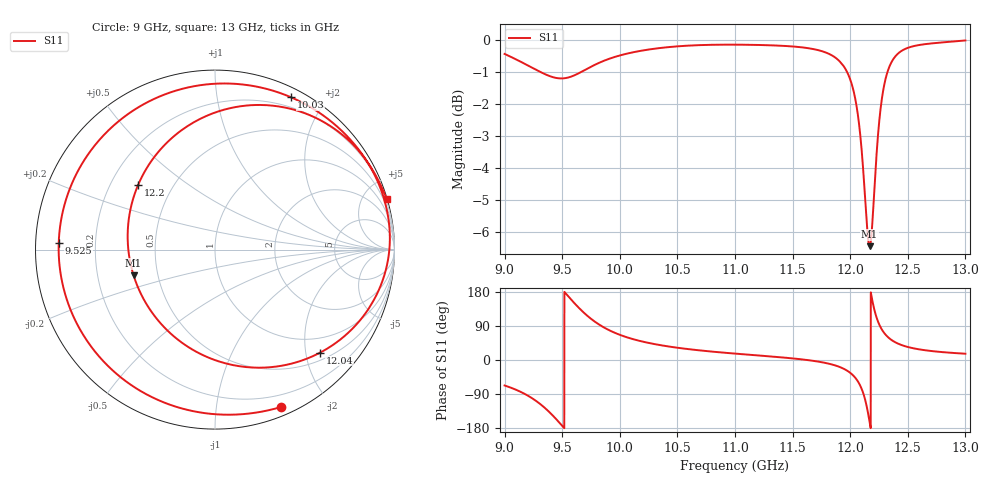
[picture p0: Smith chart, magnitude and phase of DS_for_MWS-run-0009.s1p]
! TOUCHSTONE file generated by CST DESIGN STUDIO
! Date and time: Tue Feb  4 14:34:12 2025
! Project name: C:\Work\MatlabApps\UnitCellOptimizationMatlab\CST\unitcell.cst
! Tree item: Tasks\Sweep1\SPara1\S-Parameters
! Header version: 2024
! Port assignment regex: !\s*Touchstone port\s*([0-9]+)\s*=\s*(CST MWS port|CST DES external port|CST DES block port)\s*(.+)\s* \(\"(.*)\"\)(\s*mode\s*([0-9]+))?.*
! Touchstone port assignment:
! Touchstone port 1 = CST DES external port 1 ("")
# GHz S MA R 50
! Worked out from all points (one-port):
!   4001 points, 9 GHz to 13 GHz, reference 50 ohm
!   lowest |S11| = -6.5 dB at 12.17 GHz (marker M1), VSWR 2.82, Z = 18.1 - j6.74 ohm
!   |S11| at or under -10 dB: nowhere
!   S11 on the Smith chart (normalised r, x): 9 GHz: 0.08, -1.50; 9.525 GHz: 0.07, +0.02; 10.03 GHz: 0.10, +1.61; 12.04 GHz: 0.65, -2.30; 12.2 GHz: 0.32, +0.33; 13 GHz: 0.04, +6.88
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9  0.9509 -67.2
9.176  0.9175 -89.7
9.294  0.8943 -112.7
9.394  0.8776 -139.1
9.5  0.8706 -173.7
9.525  0.8715 177.6
9.636  0.8856 140.3
9.732  0.9046 113.1
9.843  0.9248 89.3
10  0.9457 66.5
10.026  0.9485 63.6
10.23  0.9649 46.4
10.5  0.9773 32.3
11  0.9833 16.9
11.5  0.9769 4.2
11.844  0.9454 -12.0
12  0.8675 -33.8
12.037  0.8204 -44.3
12.075  0.7436 -60.7
12.113  0.6259 -87.4
12.14  0.5291 -117.8
12.168  0.4758 -162.4
12.204  0.5598 139.9
12.24  0.7049 102.5
12.282  0.8248 76.9
12.37  0.9308 50.5
12.5  0.972 34.3
13  0.9983 16.5
